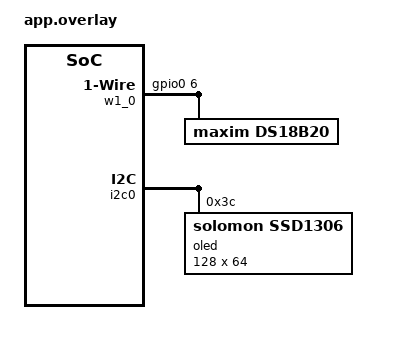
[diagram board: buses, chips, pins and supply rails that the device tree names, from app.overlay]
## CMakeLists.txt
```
cmake_minimum_required(VERSION 3.20.0)

find_package(Zephyr REQUIRED HINTS $ENV{ZEPHYR_BASE})

project(nrf52840_wearable_temp)

target_sources(app PRIVATE
    src/main.c
    src/sensor_manager.c
    src/display_manager.c
    src/ble_service.c
    src/config_manager.c
)
```

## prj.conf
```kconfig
# =========================
# Basic
# =========================

CONFIG_PRINTK=y
CONFIG_GPIO=y


# =========================
# DS18B20
# =========================

CONFIG_SENSOR=y
CONFIG_W1=y


# =========================
# OLED
# =========================

CONFIG_I2C=y
CONFIG_DISPLAY=y
CONFIG_SSD1306=y
CONFIG_CHARACTER_FRAMEBUFFER=y

CONFIG_HEAP_MEM_POOL_SIZE=2048


# =========================
# Bluetooth LE
# =========================

CONFIG_BT=y
CONFIG_BT_PERIPHERAL=y

CONFIG_BT_DEVICE_NAME="WearableTemp"


# =========================
# BLE Security
# =========================

# Security Manager Protocol
CONFIG_BT_SMP=y

# 允许 Bonding
CONFIG_BT_BONDABLE=y

# Bluetooth Bond/Keys 保存到 Settings
CONFIG_BT_SETTINGS=y

# 最多保存 4 个 Bond
CONFIG_BT_MAX_PAIRED=4


# =========================
# Flash / Settings / NVS
# =========================

CONFIG_FLASH=y
CONFIG_FLASH_PAGE_LAYOUT=y
CONFIG_FLASH_MAP=y

CONFIG_NVS=y

CONFIG_SETTINGS=y
CONFIG_SETTINGS_NVS=y
```

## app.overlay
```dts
#include <zephyr/dt-bindings/gpio/gpio.h>

/ {
    chosen {
        zephyr,display = &oled;
    };

    /*
     * DS18B20
     *
     * DATA -> P0.06
     */
    w1_0: w1 {
        compatible = "zephyr,w1-gpio";

        gpios = <&gpio0 6
                 (GPIO_ACTIVE_HIGH | GPIO_OPEN_DRAIN)>;

        status = "okay";

        ds18b20: ds18b20 {
            compatible = "maxim,ds18b20";

            family-code = <0x28>;
            resolution = <12>;

            status = "okay";
        };
    };
};


/*
 * SSD1306 OLED
 *
 * Board 默认：
 *
 * SDA -> P1.00
 * SCL -> P0.11
 *
 * 地址：
 * 0x3C
 */
&i2c0 {
    status = "okay";

    oled: ssd1306@3c {
        compatible = "solomon,ssd1306";

        reg = <0x3c>;

        width = <128>;
        height = <64>;

        segment-offset = <0>;
        page-offset = <0>;
        display-offset = <0>;

        multiplex-ratio = <63>;

        segment-remap;
        com-invdir;

        prechargep = <0xF1>;

        ready-time-ms = <100>;

        status = "okay";
    };
};
```

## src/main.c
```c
#include <zephyr/kernel.h>

#include "sensor_manager.h"
#include "display_manager.h"
#include "ble_service.h"
#include "config_manager.h"

#include <stdint.h>
#include <stdbool.h>


/* =========================================================
 * Reliability Configuration
 * =========================================================
 */

/*
 * 一次采样失败后，
 * 最多尝试 3 次。
 */
#define SENSOR_MAX_RETRIES       3


/*
 * 每次重试之间等待 100 ms。
 */
#define SENSOR_RETRY_DELAY_MS    100


/* =========================================================
 * Sensor Message
 * =========================================================
 *
 * Sensor Thread
 *      ↓
 * sensor_msgq
 *      ↓
 * Main / Application Thread
 * =========================================================
 */

struct sensor_message
{
    /*
     * 温度
     *
     * 单位：
     * 0.1°C
     *
     * 例如：
     *
     * 286 = 28.6°C
     */
    int16_t temperature;


    /*
     * 采样时间戳
     *
     * 单位：
     * ms
     *
     * 从系统启动开始计算。
     */
    uint32_t timestamp_ms;


    /*
     * 当前传感器状态。
     */
    bool sensor_ok;


    /*
     * 最后一次传感器错误码。
     *
     * 正常：
     * 0
     *
     * 异常示例：
     * -5
     */
    int error_code;
};


/* =========================================================
 * Display Message
 * =========================================================
 *
 * Main / Application Thread
 *      ↓
 * display_msgq
 *      ↓
 * Display Thread
 * =========================================================
 */

struct display_message
{
    int16_t temperature;

    bool ble_connected;

    bool sensor_ok;

    int sensor_error;
};


/* =========================================================
 * Message Queues
 * =========================================================
 */


/*
 * Sensor Thread
 *      ↓
 * Main Thread
 *
 * 最多缓存 4 条 Sensor Message。
 */
K_MSGQ_DEFINE(
    sensor_msgq,
    sizeof(struct sensor_message),
    4,
    4
);


/*
 * Main Thread
 *      ↓
 * Display Thread
 *
 * 最多缓存 4 条 Display Message。
 */
K_MSGQ_DEFINE(
    display_msgq,
    sizeof(struct display_message),
    4,
    4
);


/* =========================================================
 * Thread Configuration
 * =========================================================
 */


/*
 * Sensor Thread
 */
#define SENSOR_THREAD_STACK_SIZE 1536
#define SENSOR_THREAD_PRIORITY   5


/*
 * Display Thread
 *
 * Zephyr 中：
 *
 * 数字越小，
 * 优先级越高。
 *
 * 所以 Sensor Thread 5
 * 优先级高于 Display Thread 7。
 */
#define DISPLAY_THREAD_STACK_SIZE 1536
#define DISPLAY_THREAD_PRIORITY   7


/* =========================================================
 * Thread Stack
 * =========================================================
 */


K_THREAD_STACK_DEFINE(
    sensor_thread_stack,
    SENSOR_THREAD_STACK_SIZE
);


K_THREAD_STACK_DEFINE(
    display_thread_stack,
    DISPLAY_THREAD_STACK_SIZE
);


/* =========================================================
 * Thread Control Blocks
 * =========================================================
 */


static struct k_thread sensor_thread_data;

static struct k_thread display_thread_data;


/* =========================================================
 * Sensor Thread
 * =========================================================
 *
 * 职责：
 *
 * 1. 读取 DS18B20
 * 2. 读取失败自动重试
 * 3. 判断 Sensor Fault
 * 4. 判断 Sensor Recovery
 * 5. 把结果发送给 Main Thread
 * 6. 根据当前配置进入 sleep
 *
 * Sensor Thread 不直接操作：
 *
 * OLED
 * BLE Notification
 * =========================================================
 */


static void sensor_thread_entry(
    void *p1,
    void *p2,
    void *p3)
{
    ARG_UNUSED(p1);
    ARG_UNUSED(p2);
    ARG_UNUSED(p3);


    /*
     * 初始化为 0，
     * 防止第一次读取就失败时 temperature
     * 中存在未初始化数据。
     */
    struct sensor_message msg = {0};


    /*
     * 连续失败周期计数。
     */
    uint32_t consecutive_failures = 0;


    /*
     * 用于判断：
     *
     * FAULT
     *   ↓
     * RECOVERED
     */
    bool sensor_was_faulted = false;


    int ret;


    printk(
        "SENSOR_THREAD: started\n"
    );


    while (1) {

        bool read_success = false;

        int last_error = 0;


        /* =================================================
         * 1. Sensor Read + Retry
         * =================================================
         */


        for (
            int attempt = 1;
            attempt <= SENSOR_MAX_RETRIES;
            attempt++
        ) {

            ret =
                sensor_manager_read_temperature(
                    &msg.temperature
                );


            /*
             * 读取成功。
             */
            if (ret == 0) {

                read_success = true;

                break;
            }


            /*
             * 保存最后一个错误码。
             */
            last_error = ret;


            printk(
                "SENSOR_THREAD: "
                "read failed attempt %d/%d, err=%d\n",

                attempt,
                SENSOR_MAX_RETRIES,
                ret
            );


            /*
             * 如果还有下一次重试，
             * 等待 100 ms。
             */
            if (
                attempt <
                SENSOR_MAX_RETRIES
            ) {

                k_sleep(
                    K_MSEC(
                        SENSOR_RETRY_DELAY_MS
                    )
                );
            }
        }


        /* =================================================
         * 2. Sensor 正常
         * =================================================
         */


        if (read_success) {

            msg.sensor_ok = true;

            msg.error_code = 0;


            msg.timestamp_ms =
                k_uptime_get_32();


            /*
             * 如果上一周期处于 Fault，
             * 现在读取成功，
             * 就认为 Sensor 已恢复。
             */
            if (sensor_was_faulted) {

                printk(
                    "SENSOR_THREAD: "
                    "SENSOR RECOVERED "
                    "after %u failed cycles\n",

                    consecutive_failures
                );


                sensor_was_faulted = false;
            }


            /*
             * 恢复以后清零连续失败计数。
             */
            consecutive_failures = 0;


            printk(
                "SENSOR_THREAD: "
                "temp=%d timestamp=%u\n",

                msg.temperature,
                msg.timestamp_ms
            );

        } else {

            /* =============================================
             * 3. Sensor Fault
             * =============================================
             *
             * 连续 3 次读取都失败。
             */


            consecutive_failures++;


            sensor_was_faulted = true;


            msg.sensor_ok = false;

            msg.error_code =
                last_error;


            msg.timestamp_ms =
                k_uptime_get_32();


            printk(
                "SENSOR_THREAD: "
                "SENSOR FAULT "
                "cycle=%u error=%d\n",

                consecutive_failures,
                last_error
            );
        }


        /* =================================================
         * 4. Send Sensor Message
         * =================================================
         */


        ret =
            k_msgq_put(
                &sensor_msgq,
                &msg,
                K_NO_WAIT
            );


        if (ret != 0) {

            /*
             * Main Thread 消费速度过慢，
             * Queue 已满。
             *
             * Sensor Thread 不阻塞。
             */
            printk(
                "SENSOR_THREAD: "
                "sensor queue full, "
                "message dropped\n"
            );
        }


        /* =================================================
         * 5. 获取当前 Sampling Interval
         * =================================================
         *
         * 现在不再从 ble_service 获取。
         *
         * Sampling Interval 属于：
         *
         * config_manager
         *
         * 它可能来自：
         *
         * 默认值
         * 或
         * Flash 中恢复的值
         * 或
         * 手机 BLE WRITE 的新值
         */


        uint16_t interval =
            config_manager_get_sampling_interval_ms();


        printk(
            "SENSOR_THREAD: "
            "next cycle in %u ms\n",

            interval
        );


        /* =================================================
         * 6. Sleep
         * =================================================
         */


        k_sleep(
            K_MSEC(interval)
        );
    }
}


/* =========================================================
 * Display Thread
 * =========================================================
 *
 * Display Thread 唯一职责：
 *
 * OLED 更新。
 *
 * 没有消息时：
 *
 * BLOCKED
 *
 * 不轮询。
 * =========================================================
 */


static void display_thread_entry(
    void *p1,
    void *p2,
    void *p3)
{
    ARG_UNUSED(p1);
    ARG_UNUSED(p2);
    ARG_UNUSED(p3);


    struct display_message msg;


    int ret;


    printk(
        "DISPLAY_THREAD: started\n"
    );


    while (1) {

        /* =================================================
         * 1. 等待 Display Message
         * =================================================
         */


        ret =
            k_msgq_get(
                &display_msgq,
                &msg,
                K_FOREVER
            );


        if (ret != 0) {

            printk(
                "DISPLAY_THREAD: "
                "queue receive failed: %d\n",

                ret
            );


            continue;
        }


        /* =================================================
         * 2. OLED Update
         * =================================================
         */


        ret =
            display_manager_update(
                msg.temperature,
                msg.ble_connected,
                msg.sensor_ok,
                msg.sensor_error
            );


        if (ret != 0) {

            printk(
                "DISPLAY_THREAD: "
                "update failed: %d\n",

                ret
            );


            continue;
        }


        /* =================================================
         * 3. Debug Log
         * =================================================
         */


        if (msg.sensor_ok) {

            printk(
                "DISPLAY_THREAD: "
                "temp=%d BLE=%s\n",

                msg.temperature,

                msg.ble_connected
                    ? "CONNECTED"
                    : "ADV"
            );

        } else {

            printk(
                "DISPLAY_THREAD: "
                "SENSOR ERROR=%d\n",

                msg.sensor_error
            );
        }
    }
}


/* =========================================================
 * main
 * =========================================================
 */


int main(void)
{
    int ret;


    struct sensor_message sensor_msg;

    struct display_message display_msg;


    printk("\n");

    printk(
        "================================\n"
    );

    printk(
        " Wearable Temperature Monitor\n"
    );

    printk(
        " Reliable RTOS + NVS Version\n"
    );

    printk(
        "================================\n"
    );


    /* =====================================================
     * 1. Sensor Manager Init
     * =====================================================
     */


    ret =
        sensor_manager_init();


    if (ret != 0) {

        printk(
            "APP: sensor init failed: %d\n",
            ret
        );


        return 0;
    }


    /* =====================================================
     * 2. Display Manager Init
     * =====================================================
     */


    ret =
        display_manager_init();


    if (ret != 0) {

        printk(
            "APP: display init failed: %d\n",
            ret
        );


        return 0;
    }


    /* =====================================================
     * 3. Config Manager Init
     * =====================================================
     *
     * 这里非常关键。
     *
     * Config Manager 会：
     *
     * 1. 初始化 Settings
     * 2. 初始化 NVS Backend
     * 3. 尝试从 Flash 恢复 Sampling Interval
     *
     * 如果 Flash 没有保存数据：
     *
     * 默认 = 2000 ms
     */


    ret =
        config_manager_init();


    if (ret != 0) {

        printk(
            "APP: config manager init failed: %d\n",
            ret
        );


        return 0;
    }


    printk(
        "APP: sampling interval=%u ms\n",

        config_manager_get_sampling_interval_ms()
    );


    /* =====================================================
     * 4. BLE Service Init
     * =====================================================
     */


    ret =
        ble_service_init();


    if (ret != 0) {

        printk(
            "APP: BLE init failed: %d\n",
            ret
        );


        return 0;
    }


    printk(
        "APP: initialization completed\n"
    );


    /* =====================================================
     * 5. Create Display Thread
     * =====================================================
     */


    k_thread_create(
        &display_thread_data,

        display_thread_stack,

        K_THREAD_STACK_SIZEOF(
            display_thread_stack
        ),

        display_thread_entry,

        NULL,
        NULL,
        NULL,

        DISPLAY_THREAD_PRIORITY,

        0,

        K_NO_WAIT
    );


    printk(
        "APP: display thread created\n"
    );


    /* =====================================================
     * 6. Create Sensor Thread
     * =====================================================
     */


    k_thread_create(
        &sensor_thread_data,

        sensor_thread_stack,

        K_THREAD_STACK_SIZEOF(
            sensor_thread_stack
        ),

        sensor_thread_entry,

        NULL,
        NULL,
        NULL,

        SENSOR_THREAD_PRIORITY,

        0,

        K_NO_WAIT
    );


    printk(
        "APP: sensor thread created\n"
    );


    printk(
        "APP: threads started\n"
    );


    /* =====================================================
     * Main / Application Thread
     * =====================================================
     *
     * Main Thread 现在负责：
     *
     * Sensor Message
     *       ↓
     * 数据判断
     *       ↓
     * BLE
     *       ↓
     * Display Message
     *
     * 它不直接读取 Sensor，
     * 也不直接操作 OLED。
     */


    while (1) {

        /* =================================================
         * 1. 等待 Sensor Message
         * =================================================
         *
         * Queue 没消息时，
         * Main Thread BLOCKED。
         */


        ret =
            k_msgq_get(
                &sensor_msgq,
                &sensor_msg,
                K_FOREVER
            );


        if (ret != 0) {

            printk(
                "APP: "
                "sensor queue receive failed: %d\n",

                ret
            );


            continue;
        }


        /* =================================================
         * 2. Sensor 正常
         * =================================================
         */


        if (sensor_msg.sensor_ok) {

            printk(
                "APP: valid temperature=%d\n",
                sensor_msg.temperature
            );


            /* =============================================
             * 更新 GATT Temperature Value
             * =============================================
             */


            ble_service_set_temperature(
                sensor_msg.temperature
            );


            /* =============================================
             * Temperature Notification
             * =============================================
             *
             * 没连接：
             * 什么都不做。
             *
             * 没订阅：
             * 什么都不做。
             *
             * 已连接 + 已订阅：
             * Notification。
             */


            ret =
                ble_service_notify_temperature();


            if (ret != 0) {

                printk(
                    "APP: "
                    "BLE notify failed: %d\n",

                    ret
                );
            }

        } else {

            /* =============================================
             * 3. Sensor Fault
             * =============================================
             *
             * 不把无效 Sensor 数据发送给 BLE。
             *
             * GATT 中仍保留上一次合法温度。
             */


            printk(
                "APP: sensor fault error=%d, "
                "BLE temperature update skipped\n",

                sensor_msg.error_code
            );
        }


        /* =================================================
         * 4. Build Display Message
         * =================================================
         */


        display_msg.temperature =
            sensor_msg.temperature;


        display_msg.ble_connected =
            ble_service_is_connected();


        display_msg.sensor_ok =
            sensor_msg.sensor_ok;


        display_msg.sensor_error =
            sensor_msg.error_code;


        /* =================================================
         * 5. Send Display Message
         * =================================================
         */


        ret =
            k_msgq_put(
                &display_msgq,
                &display_msg,
                K_NO_WAIT
            );


        /* =================================================
         * Display Queue Full
         * =================================================
         *
         * OLED 属于“状态型数据”。
         *
         * 我们只关心最新状态。
         *
         * 如果旧画面堆积：
         *
         * 删除旧数据
         * ↓
         * 保留最新状态
         */


        if (ret != 0) {

            printk(
                "APP: display queue full, "
                "dropping stale frames\n"
            );


            k_msgq_purge(
                &display_msgq
            );


            ret =
                k_msgq_put(
                    &display_msgq,
                    &display_msg,
                    K_NO_WAIT
                );


            if (ret != 0) {

                printk(
                    "APP: "
                    "display queue put failed: %d\n",

                    ret
                );
            }
        }
    }


    return 0;
}
```

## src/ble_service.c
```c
#include "ble_service.h"
#include "config_manager.h"

#include <zephyr/kernel.h>

#include <zephyr/bluetooth/bluetooth.h>
#include <zephyr/bluetooth/conn.h>
#include <zephyr/bluetooth/gatt.h>
#include <zephyr/bluetooth/uuid.h>

#include <zephyr/settings/settings.h>

#include <zephyr/sys/atomic.h>
#include <zephyr/sys/byteorder.h>
#include <zephyr/sys/util.h>

#include <errno.h>
#include <stdint.h>
#include <stdbool.h>


/* =========================================================
 * UUID
 * =========================================================
 *
 * Service:
 *
 * 8e400001-f315-4f60-9fb8-838830daea50
 *
 *
 * Temperature:
 *
 * 8e400002-f315-4f60-9fb8-838830daea50
 *
 *
 * Sampling Interval:
 *
 * 8e400003-f315-4f60-9fb8-838830daea50
 * =========================================================
 */


#define BT_UUID_WEARABLE_SERVICE_VAL \
    BT_UUID_128_ENCODE( \
        0x8e400001, \
        0xf315, \
        0x4f60, \
        0x9fb8, \
        0x838830daea50 \
    )


#define BT_UUID_WEARABLE_TEMP_VAL \
    BT_UUID_128_ENCODE( \
        0x8e400002, \
        0xf315, \
        0x4f60, \
        0x9fb8, \
        0x838830daea50 \
    )


#define BT_UUID_WEARABLE_INTERVAL_VAL \
    BT_UUID_128_ENCODE( \
        0x8e400003, \
        0xf315, \
        0x4f60, \
        0x9fb8, \
        0x838830daea50 \
    )


/* =========================================================
 * UUID Objects
 * =========================================================
 */


static struct bt_uuid_128 wearable_service_uuid =
    BT_UUID_INIT_128(
        BT_UUID_WEARABLE_SERVICE_VAL
    );


static struct bt_uuid_128 wearable_temp_uuid =
    BT_UUID_INIT_128(
        BT_UUID_WEARABLE_TEMP_VAL
    );


static struct bt_uuid_128 wearable_interval_uuid =
    BT_UUID_INIT_128(
        BT_UUID_WEARABLE_INTERVAL_VAL
    );


/* =========================================================
 * BLE Runtime State
 * =========================================================
 */


/*
 * 当前温度
 *
 * 单位：
 *
 * 0.1°C
 *
 * 例如：
 *
 * 286 = 28.6°C
 */
static atomic_t current_temp_tenths;


/*
 * BLE 是否已经连接。
 */
static atomic_t ble_connected;


/*
 * Temperature Notification
 * 是否开启。
 */
static atomic_t notify_enabled;


/* =========================================================
 * Temperature READ
 * =========================================================
 */


static ssize_t read_temperature(
    struct bt_conn *conn,
    const struct bt_gatt_attr *attr,
    void *buf,
    uint16_t len,
    uint16_t offset)
{
    int16_t temperature =
        (int16_t)atomic_get(
            &current_temp_tenths
        );


    /*
     * CPU ->
     * BLE Little Endian
     */
    int16_t value =
        sys_cpu_to_le16(
            temperature
        );


    printk(
        "BLE: GATT READ temperature=%d\n",
        temperature
    );


    return bt_gatt_attr_read(
        conn,
        attr,
        buf,
        len,
        offset,
        &value,
        sizeof(value)
    );
}


/* =========================================================
 * Temperature CCCD
 * =========================================================
 */


static void temp_ccc_cfg_changed(
    const struct bt_gatt_attr *attr,
    uint16_t value)
{
    ARG_UNUSED(attr);


    bool enabled =
        (value & BT_GATT_CCC_NOTIFY)
        != 0;


    atomic_set(
        &notify_enabled,
        enabled
    );


    printk(
        "BLE: Temperature notification %s\n",

        enabled
            ? "ENABLED"
            : "DISABLED"
    );
}


/* =========================================================
 * Sampling Interval READ
 * =========================================================
 *
 * Sampling Interval 现在由
 * config_manager 管理。
 *
 * BLE Service 只是访问它。
 * =========================================================
 */


static ssize_t read_sampling_interval(
    struct bt_conn *conn,
    const struct bt_gatt_attr *attr,
    void *buf,
    uint16_t len,
    uint16_t offset)
{
    uint16_t interval =
        config_manager_get_sampling_interval_ms();


    uint16_t value =
        sys_cpu_to_le16(
            interval
        );


    printk(
        "BLE: GATT READ interval=%u ms\n",
        interval
    );


    return bt_gatt_attr_read(
        conn,
        attr,
        buf,
        len,
        offset,
        &value,
        sizeof(value)
    );
}


/* =========================================================
 * Sampling Interval WRITE
 * =========================================================
 */


static ssize_t write_sampling_interval(
    struct bt_conn *conn,
    const struct bt_gatt_attr *attr,
    const void *buf,
    uint16_t len,
    uint16_t offset,
    uint8_t flags)
{
    ARG_UNUSED(conn);
    ARG_UNUSED(attr);
    ARG_UNUSED(flags);


    /* =====================================================
     * Offset 必须为 0
     * =====================================================
     */


    if (offset != 0) {

        return BT_GATT_ERR(
            BT_ATT_ERR_INVALID_OFFSET
        );
    }


    /* =====================================================
     * 必须正好 2 Byte
     * =====================================================
     */


    if (len != sizeof(uint16_t)) {

        printk(
            "BLE: invalid interval length=%u\n",
            len
        );


        return BT_GATT_ERR(
            BT_ATT_ERR_INVALID_ATTRIBUTE_LEN
        );
    }


    /* =====================================================
     * Little Endian -> CPU
     * =====================================================
     */


    uint16_t new_interval =
        sys_get_le16(
            (const uint8_t *)buf
        );


    printk(
        "BLE: WRITE requested interval=%u ms\n",
        new_interval
    );


    /* =====================================================
     * 交给 Config Manager
     * =====================================================
     */


    int ret =
        config_manager_set_sampling_interval_ms(
            new_interval
        );


    /*
     * 参数范围错误。
     */
    if (ret == -ERANGE) {

        printk(
            "BLE: invalid interval=%u ms\n",
            new_interval
        );


        return BT_GATT_ERR(
            BT_ATT_ERR_VALUE_NOT_ALLOWED
        );
    }


    /*
     * 其他 Config 错误。
     */
    if (ret != 0) {

        printk(
            "BLE: config update failed=%d\n",
            ret
        );


        return BT_GATT_ERR(
            BT_ATT_ERR_UNLIKELY
        );
    }


    printk(
        "BLE: sampling interval changed to %u ms\n",
        new_interval
    );


    return len;
}


/* =========================================================
 * GATT Service
 * =========================================================
 *
 * Attribute Table:
 *
 * attrs[0]
 * Primary Service
 *
 * attrs[1]
 * Temperature Characteristic Declaration
 *
 * attrs[2]
 * Temperature Value
 *
 * attrs[3]
 * Temperature CCCD
 *
 * attrs[4]
 * Sampling Interval Characteristic Declaration
 *
 * attrs[5]
 * Sampling Interval Value
 * =========================================================
 */


BT_GATT_SERVICE_DEFINE(
    wearable_service,


    /* =====================================================
     * Primary Service
     * =====================================================
     */

    BT_GATT_PRIMARY_SERVICE(
        &wearable_service_uuid
    ),


    /* =====================================================
     * Temperature
     *
     * READ
     * NOTIFY
     *
     * 目前保持公开访问。
     * =====================================================
     */

    BT_GATT_CHARACTERISTIC(
        &wearable_temp_uuid.uuid,

        BT_GATT_CHRC_READ |
        BT_GATT_CHRC_NOTIFY,

        BT_GATT_PERM_READ,

        read_temperature,

        NULL,

        NULL
    ),


    /* =====================================================
     * Temperature CCCD
     * =====================================================
     */

    BT_GATT_CCC(
        temp_ccc_cfg_changed,

        BT_GATT_PERM_READ |
        BT_GATT_PERM_WRITE
    ),


    /* =====================================================
     * Sampling Interval
     *
     * READ
     * WRITE
     *
     * 关键：
     *
     * 现在要求 BLE Link 必须加密。
     * =====================================================
     */

    BT_GATT_CHARACTERISTIC(
        &wearable_interval_uuid.uuid,

        BT_GATT_CHRC_READ |
        BT_GATT_CHRC_WRITE,

        BT_GATT_PERM_READ_ENCRYPT |
        BT_GATT_PERM_WRITE_ENCRYPT,

        read_sampling_interval,

        write_sampling_interval,

        NULL
    )
);


/* =========================================================
 * Advertising Data
 * =========================================================
 */


static const struct bt_data ad[] = {

    /*
     * Flags
     */
    BT_DATA_BYTES(
        BT_DATA_FLAGS,

        BT_LE_AD_GENERAL |
        BT_LE_AD_NO_BREDR
    ),


    /*
     * Custom Service UUID
     */
    BT_DATA_BYTES(
        BT_DATA_UUID128_ALL,

        BT_UUID_WEARABLE_SERVICE_VAL
    ),
};


/*
 * Scan Response
 *
 * WearableTemp
 */
static const struct bt_data sd[] = {

    BT_DATA(
        BT_DATA_NAME_COMPLETE,

        CONFIG_BT_DEVICE_NAME,

        sizeof(CONFIG_BT_DEVICE_NAME) - 1
    ),
};


/* =========================================================
 * Start Advertising
 * =========================================================
 */


static int start_advertising(void)
{
    int ret;


    ret =
        bt_le_adv_start(
            BT_LE_ADV_CONN_FAST_1,

            ad,
            ARRAY_SIZE(ad),

            sd,
            ARRAY_SIZE(sd)
        );


    if (ret != 0) {

        printk(
            "BLE: advertising failed=%d\n",
            ret
        );


        return ret;
    }


    printk(
        "BLE: advertising started, name=%s\n",
        CONFIG_BT_DEVICE_NAME
    );


    return 0;
}


/* =========================================================
 * Pairing Complete
 * =========================================================
 */


static void pairing_complete(
    struct bt_conn *conn,
    bool bonded)
{
    ARG_UNUSED(conn);


    printk(
        "BLE: pairing complete, bonded=%s\n",

        bonded
            ? "YES"
            : "NO"
    );
}


/* =========================================================
 * Pairing Failed
 * =========================================================
 */


static void pairing_failed(
    struct bt_conn *conn,
    enum bt_security_err reason)
{
    ARG_UNUSED(conn);


    printk(
        "BLE: pairing failed, reason=%d\n",
        reason
    );
}


/* =========================================================
 * Authentication Information Callback
 * =========================================================
 *
 * 用于观察：
 *
 * Pairing 成功
 * Pairing 失败
 * 是否创建 Bond
 * =========================================================
 */


static struct bt_conn_auth_info_cb auth_info_callbacks = {

    .pairing_complete =
        pairing_complete,

    .pairing_failed =
        pairing_failed,
};


/* =========================================================
 * Connected
 * =========================================================
 */


static void connected(
    struct bt_conn *conn,
    uint8_t err)
{
    if (err != 0) {

        printk(
            "BLE: connection failed=%u\n",
            err
        );


        return;
    }


    atomic_set(
        &ble_connected,
        true
    );


    printk(
        "BLE: CONNECTED\n"
    );


    /* =====================================================
     * 主动要求 Security Level 2
     * =====================================================
     *
     * L2：
     *
     * 加密连接
     *
     * 当前使用：
     *
     * Just Works
     *
     * 不提供 MITM Authentication。
     * =====================================================
     */


    int ret =
        bt_conn_set_security(
            conn,
            BT_SECURITY_L2
        );


    /*
     * 某些情况下连接已经处于要求的
     * Security Level。
     */
    if (
        ret != 0 &&
        ret != -EALREADY
    ) {

        printk(
            "BLE: security request failed=%d\n",
            ret
        );

    } else {

        printk(
            "BLE: security requested L2\n"
        );
    }
}


/* =========================================================
 * Disconnected
 * =========================================================
 */


static void disconnected(
    struct bt_conn *conn,
    uint8_t reason)
{
    ARG_UNUSED(conn);


    atomic_set(
        &ble_connected,
        false
    );


    atomic_set(
        &notify_enabled,
        false
    );


    printk(
        "BLE: DISCONNECTED reason=0x%02X\n",
        reason
    );


    /*
     * 断开连接后重新广播。
     */
    int ret =
        start_advertising();


    if (ret != 0) {

        printk(
            "BLE: restart advertising failed=%d\n",
            ret
        );
    }
}


/* =========================================================
 * Security Changed
 * =========================================================
 */


static void security_changed(
    struct bt_conn *conn,
    bt_security_t level,
    enum bt_security_err err)
{
    ARG_UNUSED(conn);


    /*
     * Security Procedure 失败。
     */
    if (err != BT_SECURITY_ERR_SUCCESS) {

        printk(
            "BLE: security failed "
            "level=%u err=%d\n",

            level,
            err
        );


        return;
    }


    /*
     * Security 成功。
     */
    printk(
        "BLE: security changed level=%u\n",
        level
    );


    /*
     * 当前目标：
     *
     * level=2
     *
     * 表示连接已经加密。
     */
    if (level >= BT_SECURITY_L2) {

        printk(
            "BLE: encrypted link ready\n"
        );
    }
}


/* =========================================================
 * Connection Callbacks
 * =========================================================
 */


BT_CONN_CB_DEFINE(
    connection_callbacks
) = {

    .connected =
        connected,

    .disconnected =
        disconnected,

    .security_changed =
        security_changed,
};


/* =========================================================
 * BLE Init
 * =========================================================
 */


int ble_service_init(void)
{
    int ret;


    /* =====================================================
     * Runtime State
     * =====================================================
     */


    atomic_set(
        &current_temp_tenths,
        0
    );


    atomic_set(
        &ble_connected,
        false
    );


    atomic_set(
        &notify_enabled,
        false
    );


    /* =====================================================
     * Bluetooth Stack
     * =====================================================
     */


    ret =
        bt_enable(NULL);


    if (ret != 0) {

        printk(
            "BLE: Bluetooth init failed=%d\n",
            ret
        );


        return ret;
    }


    printk(
        "BLE: Bluetooth ready\n"
    );


    /* =====================================================
     * Restore Bluetooth Settings
     * =====================================================
     *
     * Config Manager 已经在 main() 中：
     *
     * settings_subsys_init()
     *
     * 所以这里不用重复初始化 Settings。
     *
     *
     * bt_enable() 之后，
     * Bluetooth Settings Handler 已经注册。
     *
     * 这里只加载 "bt" 子树，
     * 恢复：
     *
     * Identity
     * Keys
     * Bond
     * =====================================================
     */


    ret =
        settings_load_subtree(
            "bt"
        );


    if (ret != 0) {

        printk(
            "BLE: Bluetooth settings load failed=%d\n",
            ret
        );


        return ret;
    }


    printk(
        "BLE: Bluetooth settings loaded\n"
    );


    /* =====================================================
     * Bondable
     * =====================================================
     *
     * 明确告诉 Bluetooth：
     *
     * Pairing 完成以后保存 Bond。
     * =====================================================
     */


    bt_set_bondable(
        true
    );


    printk(
        "BLE: bonding enabled\n"
    );


    /* =====================================================
     * Pairing Information Callback
     * =====================================================
     */


    ret =
        bt_conn_auth_info_cb_register(
            &auth_info_callbacks
        );


    if (ret != 0) {

        printk(
            "BLE: auth info callback register failed=%d\n",
            ret
        );


        return ret;
    }


    /* =====================================================
     * Advertising
     * =====================================================
     */


    ret =
        start_advertising();


    if (ret != 0) {

        return ret;
    }


    return 0;
}


/* =========================================================
 * Set Temperature
 * =========================================================
 */


void ble_service_set_temperature(
    int16_t temp_tenths)
{
    atomic_set(
        &current_temp_tenths,
        temp_tenths
    );
}


/* =========================================================
 * Temperature Notification
 * =========================================================
 */


int ble_service_notify_temperature(void)
{
    /*
     * 没有连接。
     */
    if (!ble_service_is_connected()) {

        return 0;
    }


    /*
     * 手机没有订阅 Notification。
     */
    if (!ble_service_is_notify_enabled()) {

        return 0;
    }


    /*
     * 最新温度。
     */
    int16_t temperature =
        (int16_t)atomic_get(
            &current_temp_tenths
        );


    /*
     * CPU ->
     * BLE Little Endian
     */
    int16_t value =
        sys_cpu_to_le16(
            temperature
        );


    /*
     * attrs[2]
     *
     * Temperature Value Attribute
     */
    int ret =
        bt_gatt_notify(
            NULL,

            &wearable_service.attrs[2],

            &value,

            sizeof(value)
        );


    if (ret != 0) {

        printk(
            "BLE: notification failed=%d\n",
            ret
        );


        return ret;
    }


    printk(
        "BLE: NOTIFY temperature=%d\n",
        temperature
    );


    return 0;
}


/* =========================================================
 * Connected?
 * =========================================================
 */


bool ble_service_is_connected(void)
{
    return
        atomic_get(
            &ble_connected
        )
        != 0;
}


/* =========================================================
 * Notification Enabled?
 * =========================================================
 */


bool ble_service_is_notify_enabled(void)
{
    return
        atomic_get(
            &notify_enabled
        )
        != 0;
}
```

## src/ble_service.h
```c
#ifndef BLE_SERVICE_H
#define BLE_SERVICE_H


#include <stdint.h>
#include <stdbool.h>


/*
 * 初始化 BLE。
 *
 * 包括：
 *
 * Bluetooth Stack
 * Bond Settings 恢复
 * Security
 * Advertising
 */
int ble_service_init(void);


/*
 * 更新当前温度。
 *
 * 单位：
 * 0.1°C
 *
 * 278 = 27.8°C
 */
void ble_service_set_temperature(
    int16_t temp_tenths
);


/*
 * 如果：
 *
 * 已连接
 * +
 * 手机开启 Notification
 *
 * 则发送当前温度。
 */
int ble_service_notify_temperature(void);


/*
 * 是否存在 BLE Connection。
 */
bool ble_service_is_connected(void);


/*
 * 手机是否已经开启
 * Temperature Notification。
 */
bool ble_service_is_notify_enabled(void);


#endif
```

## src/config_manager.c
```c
#include "config_manager.h"

#include <zephyr/kernel.h>
#include <zephyr/settings/settings.h>
#include <zephyr/sys/atomic.h>
#include <zephyr/sys/byteorder.h>

#include <errno.h>
#include <stdint.h>
#include <stdbool.h>


/*
 * Flash 中使用的 Settings Key
 *
 * 最终类似：
 *
 * wearable/sampling_interval
 */
#define SETTINGS_KEY_INTERVAL \
    "wearable/sampling_interval"


/*
 * 用户停止修改参数 1 秒后，
 * 再真正写 Flash。
 */
#define SETTINGS_SAVE_DELAY_MS 1000


/*
 * 当前运行时采样周期。
 *
 * Sensor Thread 和 BLE callback
 * 都可能访问，所以使用 atomic。
 */
static atomic_t sampling_interval_ms;


/*
 * Settings 是否已经成功初始化。
 */
static bool settings_ready = false;


/* =========================================================
 * Delayed Flash Save
 * =========================================================
 */

static void save_work_handler(
    struct k_work *work)
{
    ARG_UNUSED(work);


    if (!settings_ready) {

        printk(
            "CONFIG: settings not ready\n"
        );

        return;
    }


    uint16_t interval =
        (uint16_t)atomic_get(
            &sampling_interval_ms
        );


    /*
     * Flash 中明确使用 Little Endian。
     */
    uint16_t stored_value =
        sys_cpu_to_le16(
            interval
        );


    int ret =
        settings_save_one(
            SETTINGS_KEY_INTERVAL,

            &stored_value,

            sizeof(stored_value)
        );


    if (ret != 0) {

        printk(
            "CONFIG: save failed: %d\n",
            ret
        );

        return;
    }


    printk(
        "CONFIG: persisted interval=%u ms\n",
        interval
    );
}


K_WORK_DELAYABLE_DEFINE(
    config_save_work,
    save_work_handler
);


/* =========================================================
 * Config Init
 * =========================================================
 */

int config_manager_init(void)
{
    int ret;


    /*
     * 先设置默认值。
     *
     * 如果 Flash 没有保存配置，
     * 就继续使用 2000 ms。
     */
    atomic_set(
        &sampling_interval_ms,
        CONFIG_INTERVAL_DEFAULT_MS
    );


    /*
     * 初始化 Settings + NVS backend。
     */
    ret =
        settings_subsys_init();


    if (ret != 0) {

        printk(
            "CONFIG: settings init failed: %d\n",
            ret
        );

        return ret;
    }


    settings_ready = true;


    /*
     * 尝试从 Flash 加载。
     */
    uint16_t stored_value = 0;


    ssize_t len =
        settings_load_one(
            SETTINGS_KEY_INTERVAL,

            &stored_value,

            sizeof(stored_value)
        );


    /*
     * 找到了正确长度的数据。
     */
    if (len == sizeof(stored_value)) {

        uint16_t loaded_interval =
            sys_le16_to_cpu(
                stored_value
            );


        /*
         * Flash 数据也必须进行合法性检查。
         *
         * 不能因为 Flash 中有数据，
         * 就无条件相信。
         */
        if (
            loaded_interval >=
                CONFIG_INTERVAL_MIN_MS

            &&

            loaded_interval <=
                CONFIG_INTERVAL_MAX_MS
        ) {

            atomic_set(
                &sampling_interval_ms,
                loaded_interval
            );


            printk(
                "CONFIG: restored interval=%u ms\n",
                loaded_interval
            );


            return 0;
        }


        /*
         * Flash 里有数据，
         * 但是数值非法。
         */
        printk(
            "CONFIG: invalid stored interval=%u, "
            "using default=%u ms\n",

            loaded_interval,
            CONFIG_INTERVAL_DEFAULT_MS
        );


        return 0;
    }


    /*
     * 第一次运行通常没有保存值。
     */
    if (
        len == 0 ||
        len == -ENOENT
    ) {

        printk(
            "CONFIG: no saved interval, "
            "using default=%u ms\n",

            CONFIG_INTERVAL_DEFAULT_MS
        );


        return 0;
    }


    /*
     * 长度不对。
     *
     * 例如以后配置结构发生变化。
     */
    if (len > 0) {

        printk(
            "CONFIG: stored interval size invalid: %d, "
            "using default\n",

            (int)len
        );


        return 0;
    }


    /*
     * 真正的 Settings backend 错误。
     */
    printk(
        "CONFIG: load failed: %d\n",
        (int)len
    );


    return (int)len;
}


/* =========================================================
 * Get Sampling Interval
 * =========================================================
 */

uint16_t
config_manager_get_sampling_interval_ms(void)
{
    return
        (uint16_t)atomic_get(
            &sampling_interval_ms
        );
}


/* =========================================================
 * Set Sampling Interval
 * =========================================================
 */

int config_manager_set_sampling_interval_ms(
    uint16_t interval_ms)
{
    /*
     * 参数检查。
     */
    if (
        interval_ms <
            CONFIG_INTERVAL_MIN_MS

        ||

        interval_ms >
            CONFIG_INTERVAL_MAX_MS
    ) {

        return -ERANGE;
    }


    uint16_t current =
        config_manager_get_sampling_interval_ms();


    /*
     * 没发生变化，
     * 什么都不用做。
     */
    if (current == interval_ms) {

        return 0;
    }


    /*
     * RAM 中立即修改。
     *
     * Sensor Thread 下一轮马上会使用新值。
     */
    atomic_set(
        &sampling_interval_ms,
        interval_ms
    );


    printk(
        "CONFIG: runtime interval=%u ms\n",
        interval_ms
    );


    /*
     * 不直接写 Flash。
     *
     * 延迟 1 秒。
     *
     * 如果 1 秒内又修改一次，
     * k_work_reschedule 会重新计时，
     * 最终只保存最新值。
     */
    k_work_reschedule(
        &config_save_work,
        K_MSEC(
            SETTINGS_SAVE_DELAY_MS
        )
    );


    return 0;
}
```

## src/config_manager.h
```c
#ifndef CONFIG_MANAGER_H
#define CONFIG_MANAGER_H

#include <stdint.h>


#define CONFIG_INTERVAL_DEFAULT_MS  2000U
#define CONFIG_INTERVAL_MIN_MS      1000U
#define CONFIG_INTERVAL_MAX_MS      10000U


/*
 * 初始化配置系统，并从 Flash 恢复配置。
 */
int config_manager_init(void);


/*
 * 获取当前采样周期。
 */
uint16_t config_manager_get_sampling_interval_ms(void);


/*
 * 修改采样周期。
 *
 * RAM 中立即生效，
 * Flash 在短暂延迟后保存。
 *
 * 返回：
 * 0       成功
 * -ERANGE 参数超出范围
 */
int config_manager_set_sampling_interval_ms(
    uint16_t interval_ms
);


#endif
```

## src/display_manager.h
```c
#ifndef DISPLAY_MANAGER_H
#define DISPLAY_MANAGER_H

#include <stdint.h>
#include <stdbool.h>


/*
 * 初始化 OLED
 */
int display_manager_init(void);


/*
 * 更新 OLED
 *
 * temp_tenths:
 * 278 = 27.8°C
 *
 * ble_connected:
 * true  = BLE 已连接
 * false = Advertising
 *
 * sensor_ok:
 * true  = 传感器正常
 * false = 传感器异常
 *
 * sensor_error:
 * 传感器错误码
 */
int display_manager_update(
    int16_t temp_tenths,
    bool ble_connected,
    bool sensor_ok,
    int sensor_error
);


#endif
```

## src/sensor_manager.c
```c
#include "sensor_manager.h"

#include <zephyr/kernel.h>
#include <zephyr/device.h>
#include <zephyr/drivers/sensor.h>

#include <errno.h>
#include <stdint.h>


/*
 * DS18B20 Device
 */
static const struct device *ds18b20;


/*
 * 初始化 DS18B20
 */
int sensor_manager_init(void)
{
    ds18b20 =
        DEVICE_DT_GET_ANY(maxim_ds18b20);


    if (ds18b20 == NULL) {

        printk(
            "SENSOR: DS18B20 not found\n"
        );

        return -ENODEV;
    }


    if (!device_is_ready(ds18b20)) {

        printk(
            "SENSOR: DS18B20 not ready\n"
        );

        return -ENODEV;
    }


    printk(
        "SENSOR: DS18B20 ready\n"
    );


    return 0;
}


/*
 * 读取温度
 */
int sensor_manager_read_temperature(
    int16_t *temp_tenths)
{
    struct sensor_value temp;

    int ret;


    /*
     * 防止调用者传入 NULL
     */
    if (temp_tenths == NULL) {

        return -EINVAL;
    }


    /*
     * DS18B20 是否已经初始化
     */
    if (ds18b20 == NULL) {

        return -ENODEV;
    }


    /*
     * 获取新的温度样本
     */
    ret =
        sensor_sample_fetch(
            ds18b20
        );


    if (ret != 0) {

        printk(
            "SENSOR: sample fetch failed: %d\n",
            ret
        );

        return ret;
    }


    /*
     * 获取温度通道
     */
    ret =
        sensor_channel_get(
            ds18b20,

            SENSOR_CHAN_AMBIENT_TEMP,

            &temp
        );


    if (ret != 0) {

        printk(
            "SENSOR: channel get failed: %d\n",
            ret
        );

        return ret;
    }


    /*
     * Zephyr sensor_value
     *
     * val1:
     * 整数部分
     *
     * val2:
     * 小数部分 * 1000000
     *
     * 例如：
     *
     * 27.8125°C
     *
     * val1 = 27
     * val2 = 812500
     */


    int64_t temp_micro =
        ((int64_t)temp.val1 * 1000000LL)
        +
        temp.val2;


    /*
     * 转成 0.1°C
     *
     * 27.8°C
     *
     * ->
     *
     * 278
     */
    *temp_tenths =
        (int16_t)(
            temp_micro /
            100000LL
        );


    return 0;
}
```

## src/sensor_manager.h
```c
#ifndef SENSOR_MANAGER_H
#define SENSOR_MANAGER_H


#include <stdint.h>


/*
 * 初始化传感器模块
 *
 * 返回：
 *
 * 0  成功
 * <0 失败
 */
int sensor_manager_init(void);


/*
 * 读取当前温度
 *
 * temp_tenths：
 *
 * 单位 = 0.1°C
 *
 * 例如：
 *
 * 278
 *
 * 表示：
 *
 * 27.8°C
 */
int sensor_manager_read_temperature(
    int16_t *temp_tenths
);


#endif
```
